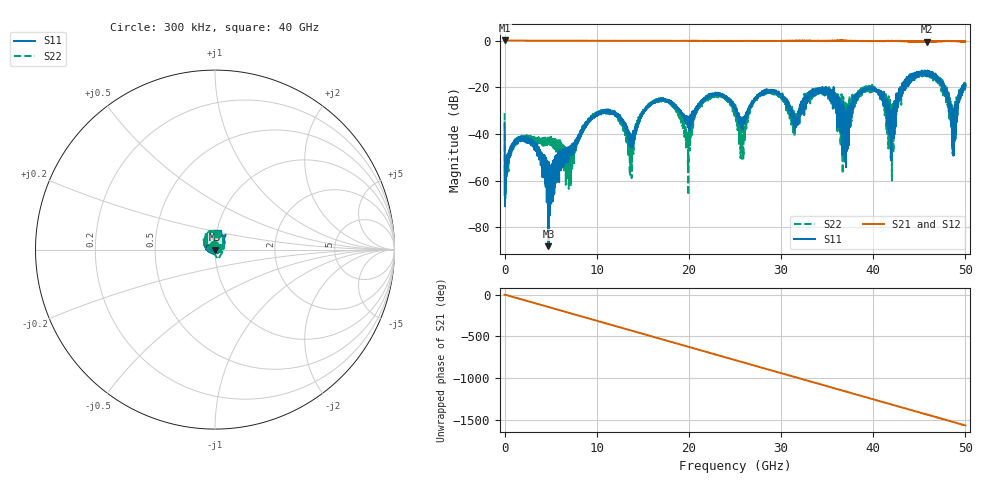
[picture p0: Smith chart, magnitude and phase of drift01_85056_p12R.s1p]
!Created with skrf (http://scikit-rf.org).
# Hz S RI R 50.0
!freq ReS11 ImS11 ReS21 ImS21 ReS12 ImS12 ReS22 ImS22
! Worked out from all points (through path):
!   10001 points, 300 kHz to 50 GHz, reference 50 ohm
!   highest |S21| = 0.04 dB at 300 kHz (marker M1); lowest = -0.5 dB at 45.81 GHz (marker M2)
!   group delay of S21, straight-line fit = 87 ps
!   lowest |S11| = -88.0 dB at 4.76 GHz (marker M3), VSWR 1.00, Z = 50 + j0.00122 ohm
!   |S11| at or under -10 dB: start of sweep to end of sweep
!   |S22| runs from -67.5 to -12.8 dB; largest |S21 - S12| = 0.036
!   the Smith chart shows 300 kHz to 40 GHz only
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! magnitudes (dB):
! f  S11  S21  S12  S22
! 300 kHz  -35.0  0.0  0.0  -31.1
! 255.3 MHz  -52.3  0.0  0.0  -53.6
! 2.79 GHz  -43.0  0.0  0.0  -42.2
! 4.76 GHz  -88.0  0.0  -0.1  -43.7
! 6.98 GHz  -47.4  -0.1  -0.1  -58.5
! 8.335 GHz  -38.8  -0.1  -0.1  -40.0
! 11.46 GHz  -29.8  -0.1  -0.1  -29.9
! 13.63 GHz  -40.3  -0.1  -0.1  -48.0
! 16.67 GHz  -25.4  -0.2  -0.1  -25.8
! 19.91 GHz  -35.3  -0.1  -0.1  -50.9
! 21.84 GHz  -24.5  -0.1  -0.1  -24.4
! 25 GHz  -29.8  -0.2  -0.2  -28.5
! 25.84 GHz  -37.8  -0.2  -0.1  -36.7
! 27.95 GHz  -22.1  -0.1  -0.1  -22.2
! 31.59 GHz  -33.3  -0.1  -0.1  -30.5
! 33.34 GHz  -23.6  -0.1  0.0  -23.3
! 36.99 GHz  -42.1  -0.1  -0.1  -37.5
! 39.38 GHz  -20.2  -0.3  -0.2  -19.2
! 41.67 GHz  -28.0  -0.1  -0.1  -26.5
! 45.81 GHz  -13.4  -0.5  -0.4  -14.9
! 48.73 GHz  -43.3  -0.2  -0.1  -29.8
! 50 GHz  -18.9  -0.3  -0.3  -18.3
